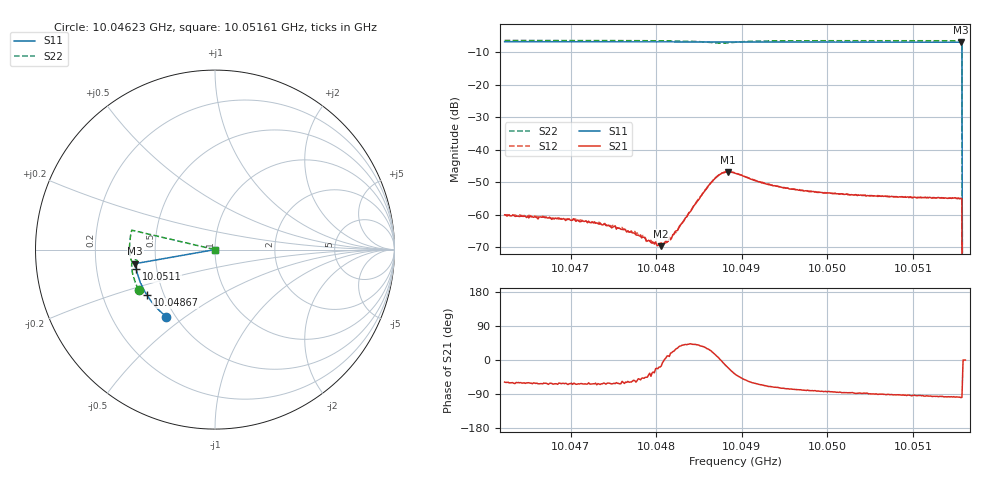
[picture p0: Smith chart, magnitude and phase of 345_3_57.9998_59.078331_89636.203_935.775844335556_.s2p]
#  HZ  S  RI  R  50.00
! Rohde & Schwarz Vector Network Analyzer
! Rohde-Schwarz,ZNB20-2Port,1311601062101988,3.16
! Created: UTC 3/21/2024, 1:05:47 AM
! freq[Hz]  re:S11  im:S11  re:S21  im:S21  re:S12  im:S12  re:S22  im:S22
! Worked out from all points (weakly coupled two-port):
!   401 points, 10.04623 GHz to 10.05161 GHz, reference 50 ohm
!   highest |S21| = -46.85 dB at 10.04884 GHz (marker M1); lowest = -69.7 dB at 10.04806 GHz (marker M2)
!   lowest |S11| = -6.9 dB at 10.05156 GHz (marker M3), VSWR 2.65, Z = 19 - j3.78 ohm
!   |S11| at or under -10 dB: 10.05157 GHz to end of sweep
!   |S22| runs from - to -6.4 dB; largest |S21 - S12| = 0.00032
!   S11 on the Smith chart (normalised r, x): 10.04623 GHz: 0.45, -0.43; 10.04867 GHz: 0.40, -0.26; 10.0511 GHz: 0.38, -0.10; 10.05161 GHz: 1.00, +0.00
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1.004623e10  -0.2708 -0.3737  0.000522 -0.000846  0.000559 -0.000815  -0.4258 -0.2245
1.0047131e10  -0.3155 -0.334  0.000368 -0.000703  0.000397 -0.000709  -0.449 -0.1683
1.0047279e10  -0.3222 -0.3271  0.000353 -0.000691  0.000384 -0.000641  -0.4523 -0.1585
1.0047616e10  -0.3372 -0.3107  0.000302 -0.000507  0.000323 -0.000496  -0.4586 -0.1359
1.0047764e10  -0.3434 -0.3031  0.000257 -0.000416  0.000344 -0.000378  -0.4607 -0.1254
1.0047912e10  -0.3496 -0.2956  0.000312 -0.000253  0.000356 -0.000202  -0.4629 -0.1146
1.0048033e10  -0.3545 -0.2893  0.000326 -0.000112  0.000334 -6.31e-05  -0.4639 -0.1054
1.004806e10  -0.3556 -0.2879  0.000315 -8.86e-05  0.000365 -5.48e-05  -0.464 -0.1032
1.0048154e10  -0.3593 -0.283  0.000417 6.81e-05  0.000433 0.000131  -0.4644 -0.0956
1.0048235e10  -0.3624 -0.2786  0.00049 0.000281  0.00044 0.000297  -0.4643 -0.089
1.004849e10  -0.3719 -0.2648  0.00128 0.00107  0.00124 0.00119  -0.458 -0.0658
1.0048665e10  -0.3782 -0.255  0.00319 0.00111  0.00313 0.00132  -0.4413 -0.0569
1.0048759e10  -0.3812 -0.2498  0.00429 -0.000101  0.00431 0.000167  -0.4329 -0.0641
1.004884e10  -0.384 -0.2457  0.00425 -0.0016  0.0044 -0.00135  -0.4357 -0.0735
1.0048921e10  -0.3867 -0.2411  0.00347 -0.00263  0.0037 -0.00242  -0.4452 -0.0767
1.0049365e10  -0.4009 -0.2156  0.000897 -0.00264  0.00109 -0.00262  -0.472 -0.0447
1.0049822e10  -0.4136 -0.1883  0.000373 -0.00224  0.000499 -0.00221  -0.4764 -0.00972
1.0050724e10  -0.4332 -0.1326  -4.62e-05 -0.00191  4.4e-05 -0.00189  -0.4739 0.0527
1.00511e10  -0.4393 -0.1085  -0.000143 -0.00182  -1.46e-05 -0.00186  -0.4702 0.0776
1.0051544e10  -0.4449 -0.0801  -0.000242 -0.00177  -0.000153 -0.00174  -0.4643 0.1064
1.0051558e10  -0.4449 -0.0793  -0.000286 -0.00175  -0.000155 -0.00176  -0.4641 0.1073
1.0051612e10  0 0  0 0  0 0  0 0
